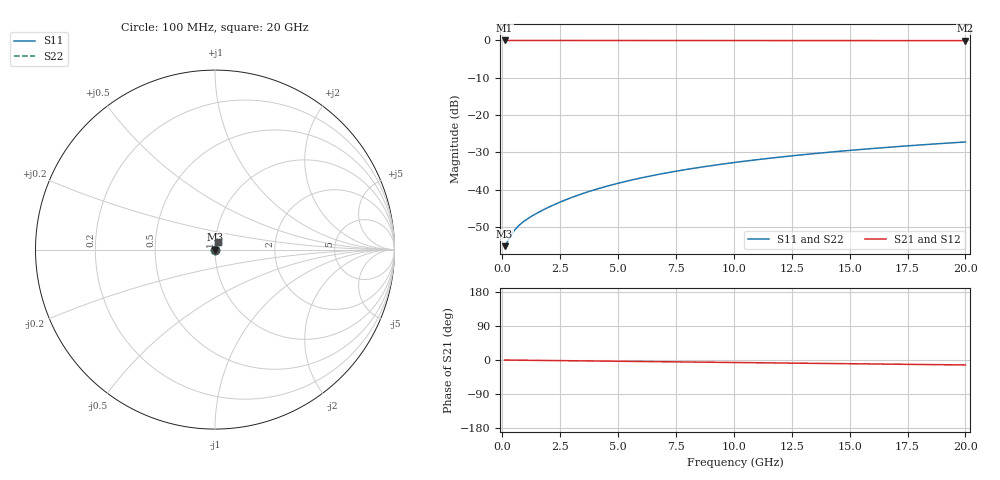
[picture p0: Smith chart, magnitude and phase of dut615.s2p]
! Touchstone file exported from HFSS 2026.1.0
!  File:  C:/ffzhzh/LocalFiles/Ansys_Project_Files/temp_train_BSMRDL_615_1783016309_4048.aedt
!  Generated:  02:19:47 AM Jul  3, 2026
!  Design:  BSMRDL
!  Project:  temp_train_BSMRDL_615_1783016309_4048
! Variables:
!  h_bsmrdl = 2.11um
!  h_ox = 20um
!  h_rdl = 5um
!  h_sub = 80um
!  h_tmrdl = 5um
!  h_tsv = 80um
!  h_via = 3um
!  l_bsmrdl = 208.25um
!  l_sub = 608.25um
!  l_tmrdl = 200um
!  m_sub = 200um
!  pitch = 34.53um
!  r_tsv = 6um
!  s_tmrdl = 10um
!  w_bsmrdl = 28.64um
!  w_sub = 500um
!  w_tmrdl = 12um
!  x_tsv_center1 = 206um
!  x_tsv_center2 = 442.89um
!  x_tsv_center3 = 654.89um
!  x_tsv_center4 = 891.78um
!  x_tsv_center5 = 1103.78um
!  x_tsv_center6 = 1340.67um
# GHz S MA R 50.000000
! Terminal data exported
! Port[1] = BSM_RDL1_1_T1
! Port[2] = BSM_RDL1_1_T2
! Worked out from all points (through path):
!   200 points, 100 MHz to 20 GHz, reference 50 ohm
!   highest |S21| = -0.01 dB at 100 MHz (marker M1); lowest = -0.1 dB at 20 GHz (marker M2)
!   group delay of S21, straight-line fit = 1.81 ps
!   lowest |S11| = -55.2 dB at 100 MHz (marker M3), VSWR 1.00, Z = 50.2 + j0.0421 ohm
!   |S11| at or under -10 dB: start of sweep to end of sweep
!   |S22| runs from -55.2 to -27.2 dB; largest |S21 - S12| = 4.3e-15
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0.1  0.001748 13.9  0.9983 -0.1  0.9983 -0.1  0.001748 13.9
! Gamma 0 0 0 0
! Port Impedance 50 0 50 0
0.2  0.001955 24.7  0.9982 -0.2  0.9982 -0.2  0.001955 24.7
0.4  0.002508 36.4  0.998 -0.3  0.998 -0.3  0.002508 36.4
0.5  0.00278 39.5  0.9979 -0.4  0.9979 -0.4  0.00278 39.5
0.6  0.003033 41.8  0.9978 -0.4  0.9978 -0.4  0.003033 41.8
0.8  0.003486 45.2  0.9976 -0.6  0.9976 -0.6  0.003486 45.2
1.1  0.004086 49.3  0.9974 -0.8  0.9974 -0.8  0.004086 49.3
1.6  0.005034 55.2  0.9972 -1.1  0.9972 -1.1  0.005034 55.2
2.2  0.006209 60.5  0.9971 -1.5  0.9971 -1.5  0.006209 60.5
2.8  0.007438 64.3  0.997 -1.9  0.997 -1.9  0.007438 64.3
3.5  0.008921 67.4  0.9969 -2.3  0.9969 -2.3  0.008921 67.4
4.2  0.01043 69.4  0.9968 -2.8  0.9968 -2.8  0.01043 69.4
5  0.01218 71.0  0.9966 -3.3  0.9966 -3.3  0.01218 71.0
5.9  0.01416 72.0  0.9965 -3.9  0.9965 -3.9  0.01416 72.0
6.8  0.01613 72.7  0.9963 -4.5  0.9963 -4.5  0.01613 72.7
8.4  0.01962 73.1  0.9959 -5.5  0.9959 -5.5  0.01962 73.1
10.1  0.02328 73.0  0.9955 -6.7  0.9955 -6.7  0.02328 73.0
11.7  0.02669 72.6  0.9951 -7.7  0.9951 -7.7  0.02669 72.6
13.4  0.03026 72.0  0.9947 -8.8  0.9947 -8.8  0.03026 72.0
15  0.03356 71.3  0.9943 -9.8  0.9943 -9.8  0.03356 71.3
16.7  0.03702 70.5  0.9938 -10.9  0.9938 -10.9  0.03702 70.5
20  0.04357 68.7  0.9928 -13.1  0.9928 -13.1  0.04357 68.7
